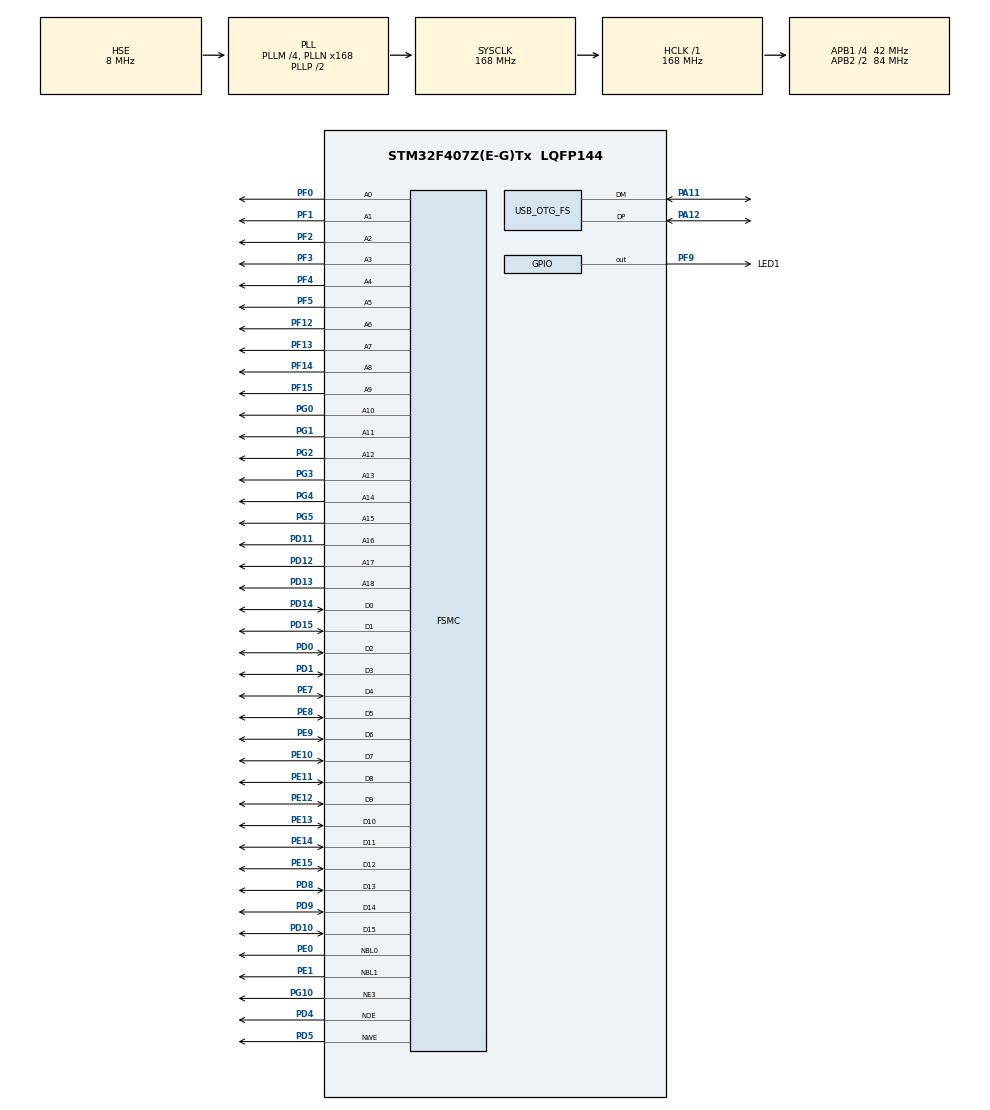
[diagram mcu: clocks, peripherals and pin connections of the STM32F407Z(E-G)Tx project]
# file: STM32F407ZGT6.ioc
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FSMC.WriteOperation1=FSMC_WRITE_OPERATION_ENABLE
Mcu.Family=STM32F4
Mcu.Name=STM32F407Z(E-G)Tx
Mcu.Package=LQFP144
NVIC.OTG_FS_IRQn=true\:0\:0\:false\:false\:true\:false\:true
NVIC.PriorityGroup=NVIC_PRIORITYGROUP_4
PA11.Mode=Device_Only
PA11.Signal=USB_OTG_FS_DM
PA12.Mode=Device_Only
PA12.Signal=USB_OTG_FS_DP
PA13.Mode=Serial_Wire
PA13.Signal=SYS_JTMS-SWDIO
PA14.Mode=Serial_Wire
PA14.Signal=SYS_JTCK-SWCLK
PC14-OSC32_IN.Mode=LSE-External-Oscillator
PC14-OSC32_IN.Signal=RCC_OSC32_IN
PC15-OSC32_OUT.Mode=LSE-External-Oscillator
PC15-OSC32_OUT.Signal=RCC_OSC32_OUT
PD0.Signal=FSMC_D2_DA2
PD1.Signal=FSMC_D3_DA3
PD10.Signal=FSMC_D15_DA15
PD11.Signal=FSMC_A16_CLE
PD12.Signal=FSMC_A17_ALE
PD13.Signal=FSMC_A18
PD14.Signal=FSMC_D0_DA0
PD15.Signal=FSMC_D1_DA1
PD4.Signal=FSMC_NOE
PD5.Signal=FSMC_NWE
PD8.Signal=FSMC_D13_DA13
PD9.Signal=FSMC_D14_DA14
PE0.Signal=FSMC_NBL0
PE1.Signal=FSMC_NBL1
PE10.Signal=FSMC_D7_DA7
PE11.Signal=FSMC_D8_DA8
PE12.Signal=FSMC_D9_DA9
PE13.Signal=FSMC_D10_DA10
PE14.Signal=FSMC_D11_DA11
PE15.Signal=FSMC_D12_DA12
PE7.Signal=FSMC_D4_DA4
PE8.Signal=FSMC_D5_DA5
PE9.Signal=FSMC_D6_DA6
PF0.Signal=FSMC_A0
PF1.Signal=FSMC_A1
PF12.Signal=FSMC_A6
PF13.Signal=FSMC_A7
PF14.Signal=FSMC_A8
PF15.Signal=FSMC_A9
PF2.Signal=FSMC_A2
PF3.Signal=FSMC_A3
PF4.Signal=FSMC_A4
PF5.Signal=FSMC_A5
PF9.GPIO_Label=LED1
PF9.Signal=GPIO_Output
PG0.Signal=FSMC_A10
PG1.Signal=FSMC_A11
PG10.Mode=NorPsramChipSelect3_1
PG10.Signal=FSMC_NE3
PG2.Signal=FSMC_A12
PG3.Signal=FSMC_A13
PG4.Signal=FSMC_A14
PG5.Signal=FSMC_A15
PH0-OSC_IN.Mode=HSE-External-Oscillator
PH0-OSC_IN.Signal=RCC_OSC_IN
PH1-OSC_OUT.Mode=HSE-External-Oscillator
PH1-OSC_OUT.Signal=RCC_OSC_OUT
ProjectManager.HeapSize=0x1200
ProjectManager.StackSize=0x1200
ProjectManager.TargetToolchain=MDK-ARM V5.32
RCC.48MHZClocksFreq_Value=48000000
RCC.AHBFreq_Value=168000000
RCC.APB1CLKDivider=RCC_HCLK_DIV4
RCC.APB1Freq_Value=42000000
RCC.APB1TimFreq_Value=84000000
RCC.APB2CLKDivider=RCC_HCLK_DIV2
RCC.APB2Freq_Value=84000000
RCC.APB2TimFreq_Value=168000000
RCC.CortexFreq_Value=168000000
RCC.HCLKFreq_Value=168000000
RCC.HSE_VALUE=8000000
RCC.HSI_VALUE=16000000
RCC.PLLM=4
RCC.PLLN=168
RCC.PLLQ=7
RCC.RCC_RTC_Clock_Source=RCC_RTCCLKSOURCE_LSE
RCC.RCC_RTC_Clock_SourceVirtual=RCC_RTCCLKSOURCE_LSE
RCC.SYSCLKFreq_VALUE=168000000
RCC.SYSCLKSource=RCC_SYSCLKSOURCE_PLLCLK
RCC.VCOOutputFreq_Value=336000000
SH.FSMC_A0.0=FSMC_A0,19b-a1
SH.FSMC_A1.0=FSMC_A1,19b-a1
SH.FSMC_A10.0=FSMC_A10,19b-a1
SH.FSMC_A11.0=FSMC_A11,19b-a1
SH.FSMC_A12.0=FSMC_A12,19b-a1
SH.FSMC_A13.0=FSMC_A13,19b-a1
SH.FSMC_A14.0=FSMC_A14,19b-a1
SH.FSMC_A15.0=FSMC_A15,19b-a1
SH.FSMC_A16_CLE.0=FSMC_A16,19b-a1
SH.FSMC_A17_ALE.0=FSMC_A17,19b-a1
SH.FSMC_A18.0=FSMC_A18,19b-a1
SH.FSMC_A2.0=FSMC_A2,19b-a1
SH.FSMC_A3.0=FSMC_A3,19b-a1
SH.FSMC_A4.0=FSMC_A4,19b-a1
SH.FSMC_A5.0=FSMC_A5,19b-a1
SH.FSMC_A6.0=FSMC_A6,19b-a1
SH.FSMC_A7.0=FSMC_A7,19b-a1
SH.FSMC_A8.0=FSMC_A8,19b-a1
SH.FSMC_A9.0=FSMC_A9,19b-a1
SH.FSMC_D0_DA0.0=FSMC_D0,16b-d1
SH.FSMC_D10_DA10.0=FSMC_D10,16b-d1
SH.FSMC_D11_DA11.0=FSMC_D11,16b-d1
SH.FSMC_D12_DA12.0=FSMC_D12,16b-d1
SH.FSMC_D13_DA13.0=FSMC_D13,16b-d1
SH.FSMC_D14_DA14.0=FSMC_D14,16b-d1
SH.FSMC_D15_DA15.0=FSMC_D15,16b-d1
SH.FSMC_D1_DA1.0=FSMC_D1,16b-d1
SH.FSMC_D2_DA2.0=FSMC_D2,16b-d1
SH.FSMC_D3_DA3.0=FSMC_D3,16b-d1
SH.FSMC_D4_DA4.0=FSMC_D4,16b-d1
SH.FSMC_D5_DA5.0=FSMC_D5,16b-d1
SH.FSMC_D6_DA6.0=FSMC_D6,16b-d1
SH.FSMC_D7_DA7.0=FSMC_D7,16b-d1
SH.FSMC_D8_DA8.0=FSMC_D8,16b-d1
SH.FSMC_D9_DA9.0=FSMC_D9,16b-d1
SH.FSMC_NBL0.0=FSMC_NBL0,2ByteEnable1
SH.FSMC_NBL1.0=FSMC_NBL1,2ByteEnable1
SH.FSMC_NOE.0=FSMC_NOE,Sram1
SH.FSMC_NWE.0=FSMC_NWE,Sram1
USB_DEVICE.CLASS_NAME_FS=CDC
USB_DEVICE.VirtualMode-CDC_FS=Cdc
USB_DEVICE.VirtualModeFS=Cdc_FS
USB_OTG_FS.VirtualMode=Device_Only
VP_USB_DEVICE_VS_USB_DEVICE_CDC_FS.Mode=CDC_FS
board=custom

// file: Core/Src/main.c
/* USER CODE BEGIN Header */
/**
 ******************************************************************************
 * @file           : main.c
 * @brief          : Main program body
 ******************************************************************************
 * @attention
 *
 * Copyright (c) 2021 STMicroelectronics.
 * All rights reserved.
 *
 * This software is licensed under terms that can be found in the LICENSE file
 * in the root directory of this software component.
 * If no LICENSE file comes with this software, it is provided AS-IS.
 *
 ******************************************************************************
 */
/* USER CODE END Header */
#include "main.h"
#include "usb_device.h"
#include "gpio.h"
#include "fsmc.h"

/* USER CODE BEGIN Includes */
#include <stdio.h>
#include "usbd_cdc_if.h"

/* USER CODE END Includes */

/* USER CODE BEGIN PD */
#define MY_GET_TICK() printf("tick: %d\r\n", HAL_GetTick())

/* USER CODE END PD */

/* USER CODE BEGIN PV */
volatile uint8_t MY_USB_OK;

#define EXT_SRAM_ADDR ((uint32_t)0x68000000)
#define EXT_SRAM_SIZE (1 * 1024 * 1024)

uint32_t bsp_TestExtSRAM(void);

/* USER CODE END PV */

void SystemClock_Config(void);

int main(void)
{

    /* MCU Configuration--------------------------------------------------------*/

    /* Reset of all peripherals, Initializes the Flash interface and the Systick. */
    HAL_Init();

    /* Configure the system clock */
    SystemClock_Config();

    /* Initialize all configured peripherals */
    MX_GPIO_Init();
    MX_USB_DEVICE_Init();
    MX_FSMC_Init();
    /* USER CODE BEGIN 2 */
    while (!MY_USB_OK)
        ;
    MY_USB_OK = 0;
    printf("STM32F407ZG FSMC SRAM Test By Mculover666\r\n");
    if (bsp_TestExtSRAM() == 0)
    {
        printf("SRAM Test success\r\n");
    }
    else
    {
        printf("SRAM Test fail\r\n");
    }
    /* USER CODE END 2 */

    /* Infinite loop */
    while (1)
    {

    }
}

void SystemClock_Config(void)
{
    RCC_OscInitTypeDef RCC_OscInitStruct = {0};
    RCC_ClkInitTypeDef RCC_ClkInitStruct = {0};

    /** Configure the main internal regulator output voltage
     */
    __HAL_RCC_PWR_CLK_ENABLE();
    __HAL_PWR_VOLTAGESCALING_CONFIG(PWR_REGULATOR_VOLTAGE_SCALE1);
    /** Initializes the RCC Oscillators according to the specified parameters
     * in the RCC_OscInitTypeDef structure.
     */
    RCC_OscInitStruct.OscillatorType = RCC_OSCILLATORTYPE_HSE;
    RCC_OscInitStruct.HSEState = RCC_HSE_ON;
    RCC_OscInitStruct.PLL.PLLState = RCC_PLL_ON;
    RCC_OscInitStruct.PLL.PLLSource = RCC_PLLSOURCE_HSE;
    RCC_OscInitStruct.PLL.PLLM = 4;
    RCC_OscInitStruct.PLL.PLLN = 168;
    RCC_OscInitStruct.PLL.PLLP = RCC_PLLP_DIV2;
    RCC_OscInitStruct.PLL.PLLQ = 7;
    if (HAL_RCC_OscConfig(&RCC_OscInitStruct) != HAL_OK)
    {
        Error_Handler();
    }
    /** Initializes the CPU, AHB and APB buses clocks
     */
    RCC_ClkInitStruct.ClockType = RCC_CLOCKTYPE_HCLK | RCC_CLOCKTYPE_SYSCLK | RCC_CLOCKTYPE_PCLK1 | RCC_CLOCKTYPE_PCLK2;
    RCC_ClkInitStruct.SYSCLKSource = RCC_SYSCLKSOURCE_PLLCLK;
    RCC_ClkInitStruct.AHBCLKDivider = RCC_SYSCLK_DIV1;
    RCC_ClkInitStruct.APB1CLKDivider = RCC_HCLK_DIV4;
    RCC_ClkInitStruct.APB2CLKDivider = RCC_HCLK_DIV2;

    if (HAL_RCC_ClockConfig(&RCC_ClkInitStruct, FLASH_LATENCY_5) != HAL_OK)
    {
        Error_Handler();
    }
}

/* USER CODE BEGIN 4 */
int fputc(int ch, FILE *f)
{
    while (!(CDC_Transmit_FS((uint8_t *)&ch, 1) == USBD_OK))
        ;
    return ch;
}
/*
*********************************************************************************************************
*	函 数 名: bsp_TestExtSRAM
*	功能说明: 扫描测试外部SRAM的全部单元。
*	形    参: 无
*	返 回 值: 0 表示测试通过；
*大于0表示错误单元的个数。
*********************************************************************************************************
*/
uint32_t bsp_TestExtSRAM(void)
{
    uint32_t i;
    uint32_t *pSRAM;
    uint8_t *pBytes;
    uint32_t err;
    const uint8_t ByteBuf[4] = {0x55, 0xA5, 0x5A, 0xAA};

    /* 写SRAM */
    pSRAM = (uint32_t *)EXT_SRAM_ADDR;
    for (i = 0; i < EXT_SRAM_SIZE / 4; i++)
    {
        *pSRAM++ = i;
    }

    /* 读SRAM */
    err = 0;
    pSRAM = (uint32_t *)EXT_SRAM_ADDR;
    for (i = 0; i < EXT_SRAM_SIZE / 4; i++)
    {
        if (*pSRAM++ != i)
        {
            err++;
        }
    }
    printf("SDRAM check round 1 error = %d\r\n", err);
    if (err > 0)
    {
        return (4 * err);
    }

#if 1
    /* 对SRAM 的数据求反并写入 */
    pSRAM = (uint32_t *)EXT_SRAM_ADDR;
    for (i = 0; i < EXT_SRAM_SIZE / 4; i++)
    {
        *pSRAM = ~*pSRAM;
        pSRAM++;
    }

    /* 再次比较SRAM的数据 */
    err = 0;
    pSRAM = (uint32_t *)EXT_SRAM_ADDR;
    for (i = 0; i < EXT_SRAM_SIZE / 4; i++)
    {
        if (*pSRAM++ != (~i))
        {
            err++;
        }
    }

    printf("SDRAM check round 2 error = %d\r\n", err);
    if (err > 0)
    {
        return (4 * err);
    }
#endif

    /* 测试按字节方式访问, 目的是验证 FSMC_NBL0 、 FSMC_NBL1
     * 口线
     */
    pBytes = (uint8_t *)EXT_SRAM_ADDR;
    for (i = 0; i < sizeof(ByteBuf); i++)
    {
        *pBytes++ = ByteBuf[i];
    }

    /* 比较SRAM的数据 */
    err = 0;
    pBytes = (uint8_t *)EXT_SRAM_ADDR;
    for (i = 0; i < sizeof(ByteBuf); i++)
    {
        if (*pBytes++ != ByteBuf[i])
        {
            err++;
        }
    }
    printf("SDRAM check round 3 error = %d\r\n", err);
    if (err > 0)
    {
        return err;
    }
    return 0;
}

/* USER CODE END 4 */

void Error_Handler(void)
{
    __disable_irq();
    while (1)
    {
    }
}
